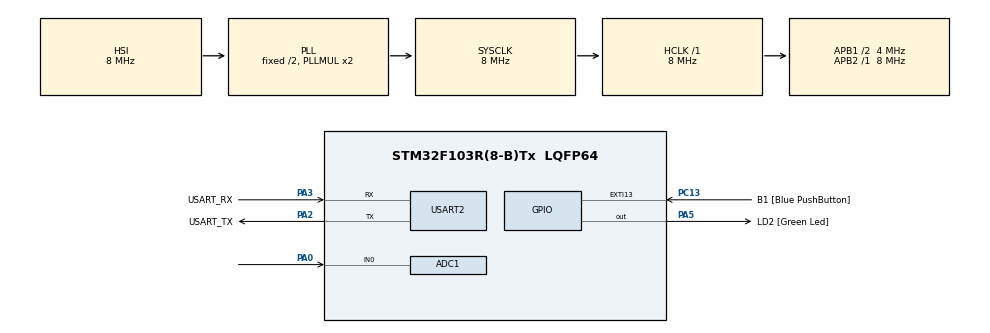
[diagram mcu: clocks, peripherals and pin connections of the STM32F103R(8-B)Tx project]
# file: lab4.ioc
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ADC1.Channel-0\#ChannelRegularConversion=ADC_CHANNEL_0
ADC1.Channel-1\#ChannelRegularConversion=ADC_CHANNEL_TEMPSENSOR
ADC1.ContinuousConvMode=ENABLE
ADC1.NbrOfConversion=2
ADC1.NbrOfConversionFlag=1
ADC1.Rank-0\#ChannelRegularConversion=1
ADC1.Rank-1\#ChannelRegularConversion=2
ADC1.SamplingTime-0\#ChannelRegularConversion=ADC_SAMPLETIME_239CYCLES_5
ADC1.SamplingTime-1\#ChannelRegularConversion=ADC_SAMPLETIME_239CYCLES_5
ADC1.master=1
Dma.ADC1.0.Direction=DMA_PERIPH_TO_MEMORY
Dma.ADC1.0.Instance=DMA1_Channel1
Dma.ADC1.0.MemDataAlignment=DMA_MDATAALIGN_WORD
Dma.ADC1.0.MemInc=DMA_MINC_ENABLE
Dma.ADC1.0.Mode=DMA_CIRCULAR
Dma.ADC1.0.PeriphDataAlignment=DMA_PDATAALIGN_WORD
Dma.ADC1.0.PeriphInc=DMA_PINC_DISABLE
Dma.ADC1.0.Priority=DMA_PRIORITY_LOW
Dma.Request0=ADC1
Dma.Request1=USART2_TX
Dma.USART2_TX.1.Direction=DMA_MEMORY_TO_PERIPH
Dma.USART2_TX.1.Instance=DMA1_Channel7
Dma.USART2_TX.1.MemDataAlignment=DMA_MDATAALIGN_BYTE
Dma.USART2_TX.1.MemInc=DMA_MINC_ENABLE
Dma.USART2_TX.1.Mode=DMA_NORMAL
Dma.USART2_TX.1.PeriphDataAlignment=DMA_PDATAALIGN_BYTE
Dma.USART2_TX.1.PeriphInc=DMA_PINC_DISABLE
Dma.USART2_TX.1.Priority=DMA_PRIORITY_LOW
Mcu.Family=STM32F1
Mcu.Name=STM32F103R(8-B)Tx
Mcu.Package=LQFP64
NVIC.ADC1_2_IRQn=true\:0\:0\:false\:false\:true\:true\:true\:true
NVIC.DMA1_Channel1_IRQn=true\:0\:0\:false\:false\:true\:false\:true\:true
NVIC.DMA1_Channel7_IRQn=true\:0\:0\:false\:false\:true\:false\:true\:true
NVIC.EXTI15_10_IRQn=true\:0\:0\:false\:false\:true\:true\:true\:true
NVIC.PriorityGroup=NVIC_PRIORITYGROUP_4
NVIC.USART2_IRQn=true\:0\:0\:false\:false\:true\:true\:true\:true
PA0-WKUP.Signal=ADCx_IN0
PA13.GPIO_Label=TMS
PA13.Mode=Serial_Wire
PA13.Signal=SYS_JTMS-SWDIO
PA14.GPIO_Label=TCK
PA14.Mode=Serial_Wire
PA14.Signal=SYS_JTCK-SWCLK
PA2.GPIO_Label=USART_TX
PA2.GPIO_Mode=GPIO_MODE_AF_PP
PA2.GPIO_PuPd=GPIO_NOPULL
PA2.GPIO_Speed=GPIO_SPEED_FREQ_LOW
PA2.Mode=Asynchronous
PA2.Signal=USART2_TX
PA3.GPIO_Label=USART_RX
PA3.GPIO_Mode=GPIO_MODE_AF_PP
PA3.GPIO_PuPd=GPIO_NOPULL
PA3.GPIO_Speed=GPIO_SPEED_FREQ_LOW
PA3.Mode=Asynchronous
PA3.Signal=USART2_RX
PA5.GPIO_Label=LD2 [Green Led]
PA5.GPIO_ModeDefaultOutputPP=GPIO_MODE_OUTPUT_PP
PA5.GPIO_PuPd=GPIO_NOPULL
PA5.GPIO_Speed=GPIO_SPEED_FREQ_LOW
PA5.Signal=GPIO_Output
PB3.GPIO_Label=SWO
PB3.Signal=SYS_JTDO-TRACESWO
PC13-TAMPER-RTC.GPIO_Label=B1 [Blue PushButton]
PC13-TAMPER-RTC.GPIO_PuPd=GPIO_NOPULL
PC13-TAMPER-RTC.Signal=GPXTI13
PC14-OSC32_IN.Mode=LSE-External-Oscillator
PC14-OSC32_IN.Signal=RCC_OSC32_IN
PC15-OSC32_OUT.Mode=LSE-External-Oscillator
PC15-OSC32_OUT.Signal=RCC_OSC32_OUT
PD0-OSC_IN.Mode=HSE-External-Clock-Source
PD0-OSC_IN.Signal=RCC_OSC_IN
PD1-OSC_OUT.Mode=HSE-External-Clock-Source
PD1-OSC_OUT.Signal=RCC_OSC_OUT
ProjectManager.HeapSize=0x200
ProjectManager.StackSize=0x400
ProjectManager.TargetToolchain=MDK-ARM V5.32
RCC.AHBFreq_Value=8000000
RCC.APB1CLKDivider=RCC_HCLK_DIV2
RCC.APB1Freq_Value=4000000
RCC.APB1TimFreq_Value=8000000
RCC.APB2Freq_Value=8000000
RCC.APB2TimFreq_Value=8000000
RCC.HCLKFreq_Value=8000000
RCC.RTCClockSelection=RCC_RTCCLKSOURCE_LSE
RCC.SYSCLKFreq_VALUE=8000000
RCC.SYSCLKSource=RCC_SYSCLKSOURCE_PLLCLK
RCC.USBFreq_Value=8000000
SH.ADCx_IN0.0=ADC1_IN0,IN0
USART2.VirtualMode=VM_ASYNC
VP_ADC1_TempSens_Input.Mode=IN-TempSens
board=NUCLEO-F103RB

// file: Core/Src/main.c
/* USER CODE BEGIN Header */
/**
  ******************************************************************************
  * @file           : main.c
  * @brief          : Main program body
  ******************************************************************************
  * @attention
  *
  * Copyright (c) 2022 STMicroelectronics.
  * All rights reserved.
  *
  * This software is licensed under terms that can be found in the LICENSE file
  * in the root directory of this software component.
  * If no LICENSE file comes with this software, it is provided AS-IS.
  *
  ******************************************************************************
  */
/* USER CODE END Header */
#include "main.h"

/* USER CODE BEGIN Includes */
#include "string.h"
#include "stdio.h"
/* USER CODE END Includes */

ADC_HandleTypeDef hadc1;
DMA_HandleTypeDef hdma_adc1;

UART_HandleTypeDef huart2;
DMA_HandleTypeDef hdma_usart2_tx;

void SystemClock_Config(void);
static void MX_GPIO_Init(void);
static void MX_DMA_Init(void);
static void MX_ADC1_Init(void);
static void MX_USART2_UART_Init(void);

int main(void)
{

  /* MCU Configuration--------------------------------------------------------*/

  /* Reset of all peripherals, Initializes the Flash interface and the Systick. */
  HAL_Init();

  /* Configure the system clock */
  SystemClock_Config();

  /* Initialize all configured peripherals */
  MX_GPIO_Init();
  MX_DMA_Init();
  MX_ADC1_Init();
  MX_USART2_UART_Init();
  /* USER CODE BEGIN 2 */
  uint32_t lightBuffer[2];
  HAL_ADC_Start_DMA(&hadc1, lightBuffer, 2);

  char start[] = "Start\n";
  //HAL_UART_Transmit(&huart2, (uint8_t *) start, strlen(start), HAL_MAX_DELAY);
  /* USER CODE END 2 */

  /* Infinite loop */
  /* USER CODE BEGIN WHILE */
  char line[80];
  char format[] = "%6.6f";
  while (1)
  {
    /* USER CODE END WHILE */

    /* USER CODE BEGIN 3 */
    float light = lightBuffer[0];
    snprintf(line, 80, format, light);
    HAL_StatusTypeDef result = HAL_UART_Transmit_DMA(&huart2, (uint8_t *) &line, strlen(line));
    if (result == HAL_OK) {
      HAL_GPIO_TogglePin(LD2_GPIO_Port, LD2_Pin);
    } else if (result == HAL_BUSY) {
      HAL_GPIO_WritePin(LD2_GPIO_Port, LD2_Pin, GPIO_PIN_RESET);
      snprintf(line, 80, "Busy");
      HAL_StatusTypeDef result = HAL_UART_Transmit(&huart2, (uint8_t *) &line, strlen(line), HAL_MAX_DELAY);
    } else {
      snprintf(line, 80, "else");
      HAL_StatusTypeDef result = HAL_UART_Transmit(&huart2, (uint8_t *) &line, strlen(line), HAL_MAX_DELAY);
    }
    HAL_Delay(50);
  }
  /* USER CODE END 3 */
}

void SystemClock_Config(void)
{
  RCC_OscInitTypeDef RCC_OscInitStruct = {0};
  RCC_ClkInitTypeDef RCC_ClkInitStruct = {0};
  RCC_PeriphCLKInitTypeDef PeriphClkInit = {0};

  /** Initializes the RCC Oscillators according to the specified parameters
  * in the RCC_OscInitTypeDef structure.
  */
  RCC_OscInitStruct.OscillatorType = RCC_OSCILLATORTYPE_HSI;
  RCC_OscInitStruct.HSIState = RCC_HSI_ON;
  RCC_OscInitStruct.HSICalibrationValue = RCC_HSICALIBRATION_DEFAULT;
  RCC_OscInitStruct.PLL.PLLState = RCC_PLL_ON;
  RCC_OscInitStruct.PLL.PLLSource = RCC_PLLSOURCE_HSI_DIV2;
  RCC_OscInitStruct.PLL.PLLMUL = RCC_PLL_MUL2;
  if (HAL_RCC_OscConfig(&RCC_OscInitStruct) != HAL_OK)
  {
    Error_Handler();
  }

  /** Initializes the CPU, AHB and APB buses clocks
  */
  RCC_ClkInitStruct.ClockType = RCC_CLOCKTYPE_HCLK|RCC_CLOCKTYPE_SYSCLK
                              |RCC_CLOCKTYPE_PCLK1|RCC_CLOCKTYPE_PCLK2;
  RCC_ClkInitStruct.SYSCLKSource = RCC_SYSCLKSOURCE_PLLCLK;
  RCC_ClkInitStruct.AHBCLKDivider = RCC_SYSCLK_DIV1;
  RCC_ClkInitStruct.APB1CLKDivider = RCC_HCLK_DIV2;
  RCC_ClkInitStruct.APB2CLKDivider = RCC_HCLK_DIV1;

  if (HAL_RCC_ClockConfig(&RCC_ClkInitStruct, FLASH_LATENCY_0) != HAL_OK)
  {
    Error_Handler();
  }
  PeriphClkInit.PeriphClockSelection = RCC_PERIPHCLK_ADC;
  PeriphClkInit.AdcClockSelection = RCC_ADCPCLK2_DIV2;
  if (HAL_RCCEx_PeriphCLKConfig(&PeriphClkInit) != HAL_OK)
  {
    Error_Handler();
  }
}

static void MX_ADC1_Init(void)
{

  ADC_ChannelConfTypeDef sConfig = {0};

  /** Common config
  */
  hadc1.Instance = ADC1;
  hadc1.Init.ScanConvMode = ADC_SCAN_ENABLE;
  hadc1.Init.ContinuousConvMode = ENABLE;
  hadc1.Init.DiscontinuousConvMode = DISABLE;
  hadc1.Init.ExternalTrigConv = ADC_SOFTWARE_START;
  hadc1.Init.DataAlign = ADC_DATAALIGN_RIGHT;
  hadc1.Init.NbrOfConversion = 2;
  if (HAL_ADC_Init(&hadc1) != HAL_OK)
  {
    Error_Handler();
  }

  /** Configure Regular Channel
  */
  sConfig.Channel = ADC_CHANNEL_0;
  sConfig.Rank = ADC_REGULAR_RANK_1;
  sConfig.SamplingTime = ADC_SAMPLETIME_239CYCLES_5;
  if (HAL_ADC_ConfigChannel(&hadc1, &sConfig) != HAL_OK)
  {
    Error_Handler();
  }

  /** Configure Regular Channel
  */
  sConfig.Channel = ADC_CHANNEL_TEMPSENSOR;
  sConfig.Rank = ADC_REGULAR_RANK_2;
  if (HAL_ADC_ConfigChannel(&hadc1, &sConfig) != HAL_OK)
  {
    Error_Handler();
  }

}

static void MX_USART2_UART_Init(void)
{

  huart2.Instance = USART2;
  huart2.Init.BaudRate = 115200;
  huart2.Init.WordLength = UART_WORDLENGTH_8B;
  huart2.Init.StopBits = UART_STOPBITS_1;
  huart2.Init.Parity = UART_PARITY_NONE;
  huart2.Init.Mode = UART_MODE_TX_RX;
  huart2.Init.HwFlowCtl = UART_HWCONTROL_NONE;
  huart2.Init.OverSampling = UART_OVERSAMPLING_16;
  if (HAL_UART_Init(&huart2) != HAL_OK)
  {
    Error_Handler();
  }

}

static void MX_DMA_Init(void)
{

  /* DMA controller clock enable */
  __HAL_RCC_DMA1_CLK_ENABLE();

  /* DMA interrupt init */
  /* DMA1_Channel1_IRQn interrupt configuration */
  HAL_NVIC_SetPriority(DMA1_Channel1_IRQn, 0, 0);
  HAL_NVIC_EnableIRQ(DMA1_Channel1_IRQn);
  /* DMA1_Channel7_IRQn interrupt configuration */
  HAL_NVIC_SetPriority(DMA1_Channel7_IRQn, 0, 0);
  HAL_NVIC_EnableIRQ(DMA1_Channel7_IRQn);

}

static void MX_GPIO_Init(void)
{
  GPIO_InitTypeDef GPIO_InitStruct = {0};

  /* GPIO Ports Clock Enable */
  __HAL_RCC_GPIOC_CLK_ENABLE();
  __HAL_RCC_GPIOD_CLK_ENABLE();
  __HAL_RCC_GPIOA_CLK_ENABLE();
  __HAL_RCC_GPIOB_CLK_ENABLE();

  /*Configure GPIO pin Output Level */
  HAL_GPIO_WritePin(LD2_GPIO_Port, LD2_Pin, GPIO_PIN_RESET);

  /*Configure GPIO pin : B1_Pin */
  GPIO_InitStruct.Pin = B1_Pin;
  GPIO_InitStruct.Mode = GPIO_MODE_IT_RISING;
  GPIO_InitStruct.Pull = GPIO_NOPULL;
  HAL_GPIO_Init(B1_GPIO_Port, &GPIO_InitStruct);

  /*Configure GPIO pin : LD2_Pin */
  GPIO_InitStruct.Pin = LD2_Pin;
  GPIO_InitStruct.Mode = GPIO_MODE_OUTPUT_PP;
  GPIO_InitStruct.Pull = GPIO_NOPULL;
  GPIO_InitStruct.Speed = GPIO_SPEED_FREQ_LOW;
  HAL_GPIO_Init(LD2_GPIO_Port, &GPIO_InitStruct);

  /* EXTI interrupt init*/
  HAL_NVIC_SetPriority(EXTI15_10_IRQn, 0, 0);
  HAL_NVIC_EnableIRQ(EXTI15_10_IRQn);

}

void Error_Handler(void)
{
  __disable_irq();
  while (1)
  {
  }
}
